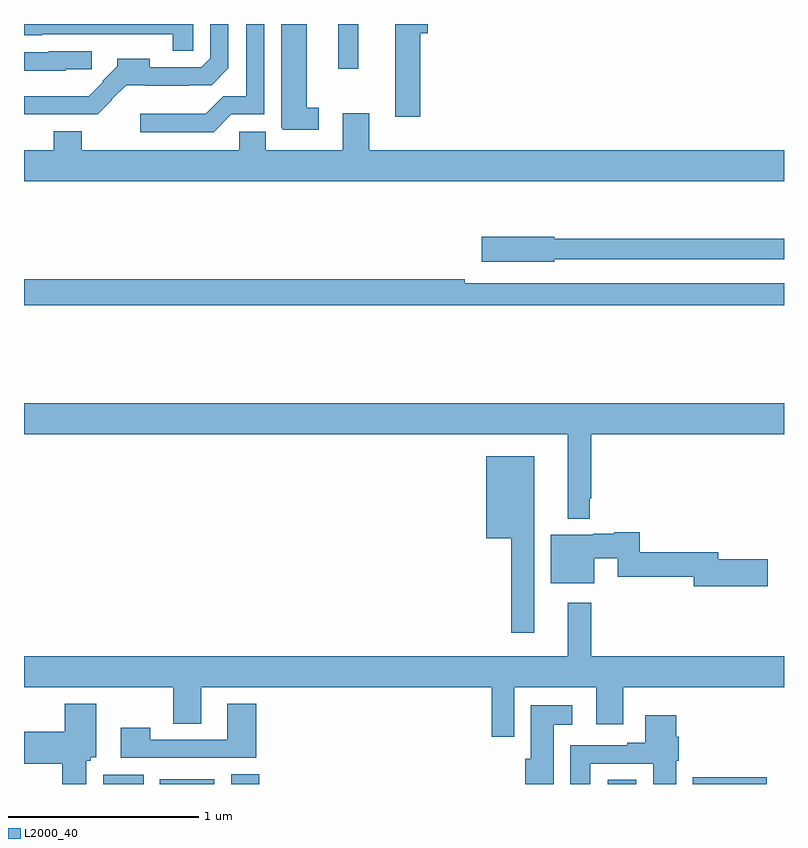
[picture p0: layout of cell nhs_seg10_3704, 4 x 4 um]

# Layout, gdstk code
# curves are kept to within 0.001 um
import gdstk
lib = gdstk.Library(unit=1e-6, precision=1e-09)
def R(c, l, rs):  # rectangles x0, y0, x1, y1
    for r in rs: c.add(gdstk.rectangle(r[:2], r[2:], *l))
def P(c, l, *ps):  # polygons
    for p in ps: c.add(gdstk.Polygon(p, *l))
L2000_40 = (2000, 40)

nhs_seg10_3704 = lib.new_cell('nhs_seg10_3704')
R(nhs_seg10_3704, L2000_40, [(313.418,1274.5,313.63,1274.548), (313.715,1274.5,314.002,1274.524), (314.09,1274.5,314.237,1274.552), (316.073,1274.5,316.222,1274.522), (316.521,1274.5,316.909,1274.535), (314.654,1278.264,314.758,1278.5)])
P(nhs_seg10_3704, L2000_40, [(313.465,1278.101),(313.463,1278.103),(313.537,1278.177),(313.871,1278.176),(313.871,1278.178),(313.987,1278.178),(314.076,1278.267),(314.076,1278.5),(313.98,1278.5),(313.98,1278.321),(313.932,1278.273),(313.663,1278.273),(313.663,1278.316),(313.492,1278.316),(313.492,1278.277),(313.413,1278.198),(313.416,1278.195),(313.34,1278.119),(313.238,1278.119),(313.238,1278.121),(313,1278.121),(313,1278.024),(313.389,1278.024)],
  [(313.89,1278.5),(313,1278.5),(313,1278.44),(313.095,1278.44),(313.095,1278.447),(313.527,1278.447),(313.527,1278.446),(313.782,1278.446),(313.782,1278.358),(313.89,1278.358)],
  [(315.086,1278.452),(315.125,1278.452),(315.125,1278.5),(314.954,1278.5),(314.954,1278.012),(315.086,1278.012)],
  [(314.091,1278.024),(314.265,1278.024),(314.265,1278.5),(314.169,1278.5),(314.169,1278.119),(314.048,1278.119),(313.957,1278.028),(313.611,1278.028),(313.611,1277.931),(313.998,1277.931)],
  [(314.551,1278.059),(314.488,1278.059),(314.488,1278.5),(314.354,1278.5),(314.354,1277.953),(314.364,1277.943),(314.551,1277.943)],
  [(313.221,1278.261),(313.356,1278.261),(313.356,1278.357),(313.131,1278.357),(313.131,1278.351),(313,1278.351),(313,1278.254),(313.221,1278.254)],
  [(317,1277.836),(314.818,1277.836),(314.818,1278.031),(314.678,1278.031),(314.678,1277.836),(314.272,1277.836),(314.272,1277.934),(314.133,1277.934),(314.133,1277.836),(313.305,1277.836),(313.305,1277.935),(313.157,1277.935),(313.157,1277.836),(313,1277.836),(313,1277.672),(317,1277.672)],
  [(315.792,1277.262),(317,1277.262),(317,1277.371),(315.792,1277.371),(315.792,1277.379),(315.408,1277.379),(315.408,1277.249),(315.792,1277.249)],
  [(317,1277.136),(315.32,1277.136),(315.32,1277.156),(313,1277.156),(313,1277.02),(317,1277.02)],
  [(315.978,1276.003),(315.985,1276.003),(315.985,1276.34),(317,1276.34),(317,1276.504),(313,1276.504),(313,1276.34),(315.863,1276.34),(315.863,1275.896),(315.978,1275.896)],
  [(315.685,1276.225),(315.434,1276.225),(315.434,1275.794),(315.564,1275.794),(315.564,1275.297),(315.685,1275.297)],
  [(316.915,1275.683),(316.654,1275.683),(316.654,1275.719),(316.241,1275.719),(316.241,1275.824),(316.107,1275.824),(316.107,1275.817),(315.996,1275.817),(315.996,1275.811),(315.773,1275.811),(315.773,1275.557),(316,1275.557),(316,1275.688),(316.125,1275.688),(316.125,1275.591),(316.526,1275.591),(316.526,1275.541),(316.915,1275.541)],
  [(315.579,1275.008),(316.013,1275.008),(316.013,1274.814),(316.153,1274.814),(316.153,1275.008),(317,1275.008),(317,1275.172),(315.985,1275.172),(315.985,1275.454),(315.863,1275.454),(315.863,1275.172),(313,1275.172),(313,1275.008),(313.786,1275.008),(313.786,1274.818),(313.933,1274.818),(313.933,1275.008),(315.463,1275.008),(315.463,1274.748),(315.579,1274.748)],
  [(313.327,1274.622),(313.35,1274.622),(313.35,1274.64),(313.381,1274.64),(313.381,1274.923),(313.214,1274.923),(313.214,1274.776),(313.002,1274.776),(313.002,1274.606),(313.202,1274.606),(313.202,1274.5),(313.327,1274.5)],
  [(314.222,1274.923),(314.069,1274.923),(314.069,1274.733),(313.665,1274.733),(313.665,1274.797),(313.509,1274.797),(313.509,1274.637),(314.222,1274.637)],
  [(315.787,1274.813),(315.886,1274.813),(315.886,1274.914),(315.668,1274.914),(315.668,1274.634),(315.638,1274.634),(315.638,1274.5),(315.787,1274.5)],
  [(315.979,1274.607),(316.313,1274.607),(316.313,1274.5),(316.432,1274.5),(316.432,1274.623),(316.445,1274.623),(316.445,1274.75),(316.432,1274.75),(316.432,1274.863),(316.271,1274.863),(316.271,1274.716),(316.175,1274.716),(316.175,1274.703),(315.875,1274.703),(315.875,1274.5),(315.979,1274.5)])

lib.write_gds('nhs_seg10_3704.gds')
